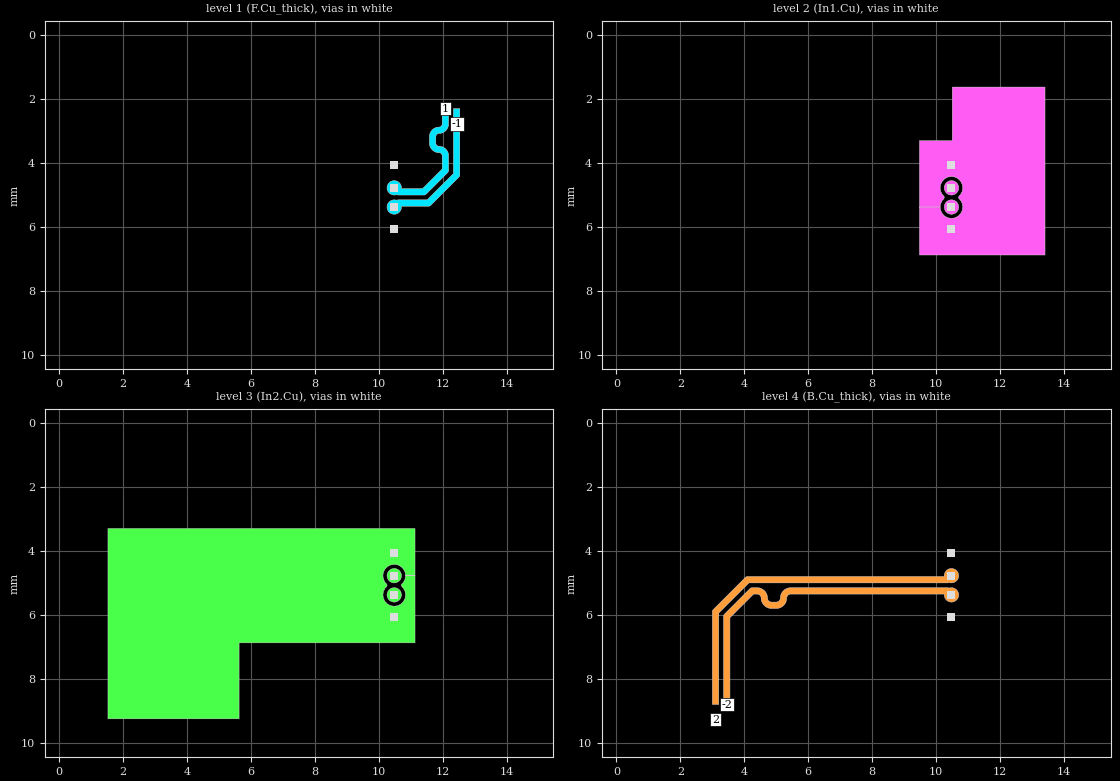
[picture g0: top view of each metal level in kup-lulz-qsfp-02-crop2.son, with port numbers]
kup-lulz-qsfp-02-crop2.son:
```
FTYP SONPROJ 19 ! Sonnet Project File
VER 18.56
HEADER
LIC antikernel2.1.52448
DAT 02/23/2024 21:26:37
BUILT_BY_CREATED dxf 18.56 02/22/2024 23:40:04
BUILT_BY_SAVED sonnet 18.56
MDATE 02/23/2024 21:26:37
HDATE 02/23/2024 21:26:37
ANN Created by dxfgeo, Sonnet Software Inc.
END HEADER
DIM
ANG DEG
CAP PF
CON /OH
FREQ GHZ
IND NH
LNG MM
RES OH
END DIM
CONTROL
VARSWP
OPTIONS  -dj
SPEED 1
CACHE_ABS 2
Q_ACC N
END CONTROL
GEO
TMET "Free Space" 0 FREESPACE 376.7303136 0 0 0
BMET "Free Space" 0 FREESPACE 376.7303136 0 0 0
MET "Copper_1oz+plated_thick_up" 1 TMM 58000000 0.5 0.0432 2
MET "Copper_1oz+plated_thin" 4 NOR 58000000 0.5 0.0432 
MET "Copper_0.5oz_thin" 2 NOR 58000000 0.5 0.0175 
MET "Copper_1oz+plated_thick_down" 3 TMM 58000000 0.5 0.0432 2 CDVY TDWN
BOX 6 15 10 1200 800 20 0
      10 1 1 0 0 0 0 "Air"
      0.05 3.5 1 0.02 0 0 0 "Soldermask"
      0.2021 3.61 1 0.0092 0 0 0 "Isola_FR408HR"
      1.1938 3.61 1 0.0092 0 0 0 "Isola_FR408HR"
      0.2021 3.61 1 0.0092 0 0 0 "Isola_FR408HR"
      0.05 3.5 1 0.02 0 0 0 "Soldermask"
      10 1 1 0 0 0 0 "Air"
TECHLAY METAL F.Cu_thick L1D0 -1 -65534 CAD F.Cu drawing 
1 0 0 N 2111 1 1 100 100 0 0 0 Y
END
END
TECHLAY VIA Via1 L5D0 -7 -65534 CAD Via1 drawing 
VIA POLYGON
1 0 -1 N 2163 1 1 100 100 0 0 0 Y
TOLEVEL 4 RING NOCOVERS
END
END
TECHLAY METAL F.Cu_thin <UNSPECIFIED> -2 -65534 CAD F.Cu_thin drawing 
1 0 1 N 2123 1 1 100 100 0 0 0 Y
END
END
TECHLAY METAL In1.Cu L2D0 -3 -65534 CAD In1.Cu drawing 
2 0 2 N 2126 1 1 100 100 0 0 0 Y
END
END
TECHLAY METAL In2.Cu L3D0 -4 -65534 CAD In2.Cu drawing 
3 0 2 N 2129 1 1 100 100 0 0 0 Y
END
END
TECHLAY METAL B.Cu_thick L4D0 -5 -65534 CAD B.Cu drawing 
4 0 3 N 2132 1 1 100 100 0 0 0 Y
END
END
TECHLAY METAL B.Cu_thin <UNSPECIFIED> -6 -65534 CAD B.Cu_thin drawing 
4 0 1 N 2134 1 1 100 100 0 0 0 Y
END
END
LORGN 0 10 U 
POR1 CUP Auto
GNDREF AUTO
TERMW FEED
POLY 2143 1
103
1 100 0 0 0 12.075 2.3 
CUPGRP "Auto" LOCAL
ID 2162
END
POR1 CUP Auto
GNDREF AUTO
TERMW FEED
POLY 2144 1
32
-1 100 0 0 0 12.425 2.3 
CUPGRP "Auto" LOCAL
ID 2169
END
POR1 CUP Auto
GNDREF AUTO
TERMW FEED
POLY 2150 1
274
-2 100 0 0 0 3.45 8.8 
CUPGRP "Auto" LOCAL
ID 2173
END
POR1 CUP Auto
GNDREF AUTO
TERMW FEED
POLY 2151 1
79
2 100 0 0 0 3.1 8.8 
CUPGRP "Auto" LOCAL
ID 2171
END
NUM 14
1 256 0 N 2143 1 1 100 100 0 0 0 Y
TLAYNAM F.Cu_thick INH
11.418 4.9995
11.427 4.9975
11.437 4.9945
11.446 4.9915
11.454 4.9865
11.463 4.9805
11.47 4.9745
12.15 4.2955
12.156 4.2875
12.166 4.2715
12.166 4.2705
12.167 4.2675
12.169 4.2625
12.17 4.2615
12.173 4.2525
12.175 4.2425
12.175 3.7705
12.174 3.7615
12.169 3.7115
12.154 3.6645
12.151 3.6555
12.146 3.6475
12.14 3.6385
12.127 3.6135
12.121 3.6045
12.115 3.5975
12.108 3.5905
12.102 3.5825
12.101 3.5815
12.097 3.5745
12.09 3.5675
12.084 3.5605
12.083 3.5605
12.076 3.5545
12.061 3.5425
12.061 3.5415
12.054 3.5345
12.046 3.5285
12.038 3.5235
11.995 3.4995
11.986 3.4965
11.976 3.4935
11.972 3.4925
11.967 3.4915
11.957 3.4885
11.948 3.4855
11.938 3.4825
11.929 3.4805
11.919 3.4795
11.89 3.4765
11.88 3.4755
11.853 3.4725
11.84 3.4685
11.82 3.4575
11.803 3.4435
11.791 3.4285
11.785 3.4185
11.777 3.3945
11.775 3.3705
11.775 3.1805
11.778 3.1535
11.782 3.1405
11.793 3.1205
11.807 3.1035
11.822 3.0915
11.832 3.0855
11.856 3.0775
11.88 3.0755
11.89 3.0745
11.919 3.0715
11.939 3.0695
11.986 3.0545
11.995 3.0515
12.003 3.0465
12.012 3.0405
12.037 3.0275
12.046 3.0215
12.053 3.0155
12.06 3.0085
12.068 3.0025
12.069 3.0015
12.076 2.9975
12.083 2.9905
12.09 2.9845
12.09 2.9835
12.096 2.9765
12.108 2.9615
12.109 2.9615
12.116 2.9545
12.122 2.9465
12.127 2.9385
12.151 2.8955
12.154 2.8865
12.157 2.8765
12.158 2.8725
12.159 2.8675
12.162 2.8575
12.165 2.8485
12.168 2.8385
12.17 2.8295
12.171 2.8195
12.174 2.7905
12.175 2.7805
12.175 2.3
11.975 2.3
11.975 2.7705
11.973 2.7945
11.965 2.8185
11.959 2.8285
11.947 2.8435
11.93 2.8575
11.91 2.8685
11.897 2.8725
11.87 2.8755
11.86 2.8765
11.831 2.8795
11.821 2.8805
11.812 2.8825
11.802 2.8855
11.793 2.8885
11.783 2.8915
11.778 2.8925
11.774 2.8935
11.764 2.8965
11.755 2.8995
11.712 2.9235
11.704 2.9285
11.696 2.9345
11.689 2.9415
11.689 2.9425
11.674 2.9545
11.667 2.9605
11.666 2.9605
11.66 2.9675
11.653 2.9745
11.649 2.9815
11.648 2.9825
11.642 2.9905
11.635 2.9975
11.629 3.0045
11.623 3.0135
11.61 3.0385
11.604 3.0475
11.599 3.0555
11.596 3.0645
11.581 3.1115
11.579 3.1315
11.576 3.1605
11.575 3.1705
11.575 3.3805
11.576 3.3905
11.579 3.4195
11.58 3.4295
11.582 3.4385
11.585 3.4485
11.588 3.4575
11.591 3.4675
11.592 3.4725
11.593 3.4765
11.596 3.4865
11.599 3.4955
11.623 3.5385
11.628 3.5465
11.634 3.5545
11.641 3.5615
11.642 3.5615
11.654 3.5765
11.66 3.5835
11.66 3.5845
11.667 3.5905
11.674 3.5975
11.681 3.6015
11.682 3.6025
11.69 3.6085
11.697 3.6155
11.704 3.6215
11.713 3.6275
11.738 3.6405
11.747 3.6465
11.755 3.6515
11.764 3.6545
11.811 3.6695
11.831 3.6715
11.86 3.6745
11.87 3.6755
11.894 3.6775
11.918 3.6855
11.928 3.6915
11.943 3.7035
11.957 3.7205
11.968 3.7405
11.972 3.7535
11.975 3.7805
11.975 4.1865
11.362 4.8005
10.699 4.8005
10.7 4.7865
10.7 4.7645
10.698 4.7425
10.693 4.7205
10.687 4.6995
10.678 4.6795
10.668 4.6595
10.656 4.6415
10.642 4.6245
10.626 4.6085
10.609 4.5945
10.591 4.5825
10.571 4.5725
10.551 4.5635
10.53 4.5575
10.508 4.5525
10.486 4.5505
10.464 4.5505
10.442 4.5525
10.42 4.5575
10.399 4.5635
10.379 4.5725
10.359 4.5825
10.341 4.5945
10.324 4.6085
10.308 4.6245
10.294 4.6415
10.282 4.6595
10.272 4.6795
10.263 4.6995
10.257 4.7205
10.252 4.7425
10.25 4.7645
10.25 4.7865
10.252 4.8085
10.257 4.8305
10.263 4.8515
10.272 4.8715
10.282 4.8915
10.294 4.9095
10.308 4.9265
10.324 4.9425
10.341 4.9565
10.359 4.9685
10.379 4.9785
10.399 4.9875
10.42 4.9935
10.442 4.9985
10.464 5.0005
10.486 5.0005
10.508 4.9985
10.53 4.9935
10.551 4.9875
10.557 4.9915
10.566 4.9945
10.576 4.9975
10.585 4.9995
10.595 5.0005
11.408 5.0005
11.418 4.9995
END
1 79 0 N 2144 1 1 100 100 0 0 0 Y
TLAYNAM F.Cu_thick INH
10.508 5.5985
10.53 5.5935
10.551 5.5875
10.571 5.5785
10.591 5.5685
10.609 5.5565
10.626 5.5425
10.642 5.5265
10.656 5.5095
10.668 5.4915
10.678 5.4715
10.687 5.4515
10.693 5.4305
10.698 5.4085
10.7 5.3865
10.7 5.3645
10.699 5.3505
11.552 5.3505
11.562 5.3495
11.572 5.3475
11.59 5.3415
11.598 5.3365
11.607 5.3305
11.615 5.3245
12.499 4.4395
12.505 4.4325
12.511 4.4245
12.516 4.4155
12.519 4.4065
12.522 4.3965
12.524 4.3875
12.525 4.3775
12.525 2.3
12.325 2.3
12.325 4.3315
11.505 5.1505
10.595 5.1505
10.585 5.1515
10.575 5.1535
10.557 5.1595
10.551 5.1635
10.55 5.1635
10.53 5.1575
10.508 5.1525
10.486 5.1505
10.464 5.1505
10.442 5.1525
10.42 5.1575
10.399 5.1635
10.379 5.1725
10.359 5.1825
10.341 5.1945
10.324 5.2085
10.308 5.2245
10.294 5.2415
10.282 5.2595
10.272 5.2795
10.263 5.2995
10.257 5.3205
10.252 5.3425
10.25 5.3645
10.25 5.3865
10.252 5.4085
10.257 5.4305
10.263 5.4515
10.272 5.4715
10.282 5.4915
10.294 5.5095
10.308 5.5265
10.324 5.5425
10.341 5.5565
10.359 5.5685
10.379 5.5785
10.399 5.5875
10.42 5.5935
10.442 5.5985
10.464 5.6005
10.486 5.6005
10.508 5.5985
END
VIA POLYGON
1 5 -1 N 1578 1 1 100 100 0 0 0 Y
TOLEVEL 4 RING NOCOVERS
TLAYNAM Via1 INH
10.35 5.5005
10.35 5.2505
10.6 5.2505
10.6 5.5005
10.35 5.5005
END
VIA POLYGON
1 5 -1 N 1580 1 1 100 100 0 0 0 Y
TOLEVEL 4 RING NOCOVERS
TLAYNAM Via1 INH
10.35 4.9005
10.35 4.6505
10.6 4.6505
10.6 4.9005
10.35 4.9005
END
VIA POLYGON
1 5 -1 N 2152 1 1 100 100 0 0 0 Y
TOLEVEL 4 RING NOCOVERS
TLAYNAM Via1 INH
10.35 4.2005
10.35 3.9505
10.6 3.9505
10.6 4.2005
10.35 4.2005
END
VIA POLYGON
1 5 -1 N 2153 1 1 100 100 0 0 0 Y
TOLEVEL 4 RING NOCOVERS
TLAYNAM Via1 INH
10.35 6.2005
10.35 5.9505
10.6 5.9505
10.6 6.2005
10.35 6.2005
END
2 65 2 N 623 1 1 100 100 0 0 0 Y
TLAYNAM In1.Cu INH
10.464 5.6005
10.442 5.5985
10.42 5.5935
10.399 5.5875
10.379 5.5785
10.359 5.5685
10.341 5.5565
10.324 5.5425
10.308 5.5265
10.294 5.5095
10.282 5.4915
10.272 5.4715
10.263 5.4515
10.257 5.4305
10.252 5.4085
10.25 5.3865
10.25 5.3645
10.252 5.3425
10.257 5.3205
10.263 5.2995
10.272 5.2795
10.282 5.2595
10.294 5.2415
10.308 5.2245
10.324 5.2085
10.341 5.1945
10.359 5.1825
10.379 5.1725
10.399 5.1635
10.42 5.1575
10.442 5.1525
10.464 5.1505
10.486 5.1505
10.508 5.1525
10.53 5.1575
10.551 5.1635
10.571 5.1725
10.591 5.1825
10.609 5.1945
10.626 5.2085
10.642 5.2245
10.656 5.2415
10.668 5.2595
10.678 5.2795
10.687 5.2995
10.693 5.3205
10.698 5.3425
10.7 5.3645
10.7 5.3865
10.698 5.4085
10.693 5.4305
10.687 5.4515
10.678 5.4715
10.668 5.4915
10.656 5.5095
10.642 5.5265
10.626 5.5425
10.609 5.5565
10.591 5.5685
10.571 5.5785
10.551 5.5875
10.53 5.5935
10.508 5.5985
10.486 5.6005
10.464 5.6005
END
2 65 2 N 625 1 1 100 100 0 0 0 Y
TLAYNAM In1.Cu INH
10.464 5.0005
10.442 4.9985
10.42 4.9935
10.399 4.9875
10.379 4.9785
10.359 4.9685
10.341 4.9565
10.324 4.9425
10.308 4.9265
10.294 4.9095
10.282 4.8915
10.272 4.8715
10.263 4.8515
10.257 4.8305
10.252 4.8085
10.25 4.7865
10.25 4.7645
10.252 4.7425
10.257 4.7205
10.263 4.6995
10.272 4.6795
10.282 4.6595
10.294 4.6415
10.308 4.6245
10.324 4.6085
10.341 4.5945
10.359 4.5825
10.379 4.5725
10.399 4.5635
10.42 4.5575
10.442 4.5525
10.464 4.5505
10.486 4.5505
10.508 4.5525
10.53 4.5575
10.551 4.5635
10.571 4.5725
10.591 4.5825
10.609 4.5945
10.626 4.6085
10.642 4.6245
10.656 4.6415
10.668 4.6595
10.678 4.6795
10.687 4.6995
10.693 4.7205
10.698 4.7425
10.7 4.7645
10.7 4.7865
10.698 4.8085
10.693 4.8305
10.687 4.8515
10.678 4.8715
10.668 4.8915
10.656 4.9095
10.642 4.9265
10.626 4.9425
10.609 4.9565
10.591 4.9685
10.571 4.9785
10.551 4.9875
10.53 4.9935
10.508 4.9985
10.486 5.0005
10.464 5.0005
END
2 46 2 N 2177 1 1 100 100 0 0 0 Y
TLAYNAM In1.Cu INH
13.4 1.625
10.5 1.625
10.5 3.3
9.475 3.3
9.475 5.3755
10.12 5.3755
10.138 5.2655
10.188 5.1665
10.236 5.1185
10.254 5.0755
10.236 5.0325
10.188 4.9845
10.138 4.8855
10.12 4.7755
10.138 4.6655
10.188 4.5665
10.266 4.4885
10.365 4.4385
10.475 4.4205
10.585 4.4385
10.684 4.4885
10.762 4.5665
10.813 4.6655
10.83 4.7755
10.813 4.8855
10.762 4.9845
10.714 5.0325
10.696 5.0755
10.714 5.1185
10.762 5.1665
10.813 5.2655
10.83 5.3755
10.813 5.4855
10.762 5.5845
10.684 5.6625
10.585 5.7135
10.475 5.7305
10.365 5.7135
10.266 5.6625
10.188 5.5845
10.138 5.4855
10.12 5.3755
9.475 5.3755
9.475 6.875
13.4 6.875
13.4 1.625
END
3 65 2 N 783 1 1 100 100 0 0 0 Y
TLAYNAM In2.Cu INH
10.464 5.6005
10.442 5.5985
10.42 5.5935
10.399 5.5875
10.379 5.5785
10.359 5.5685
10.341 5.5565
10.324 5.5425
10.308 5.5265
10.294 5.5095
10.282 5.4915
10.272 5.4715
10.263 5.4515
10.257 5.4305
10.252 5.4085
10.25 5.3865
10.25 5.3645
10.252 5.3425
10.257 5.3205
10.263 5.2995
10.272 5.2795
10.282 5.2595
10.294 5.2415
10.308 5.2245
10.324 5.2085
10.341 5.1945
10.359 5.1825
10.379 5.1725
10.399 5.1635
10.42 5.1575
10.442 5.1525
10.464 5.1505
10.486 5.1505
10.508 5.1525
10.53 5.1575
10.551 5.1635
10.571 5.1725
10.591 5.1825
10.609 5.1945
10.626 5.2085
10.642 5.2245
10.656 5.2415
10.668 5.2595
10.678 5.2795
10.687 5.2995
10.693 5.3205
10.698 5.3425
10.7 5.3645
10.7 5.3865
10.698 5.4085
10.693 5.4305
10.687 5.4515
10.678 5.4715
10.668 5.4915
10.656 5.5095
10.642 5.5265
10.626 5.5425
10.609 5.5565
10.591 5.5685
10.571 5.5785
10.551 5.5875
10.53 5.5935
10.508 5.5985
10.486 5.6005
10.464 5.6005
END
3 65 2 N 785 1 1 100 100 0 0 0 Y
TLAYNAM In2.Cu INH
10.464 5.0005
10.442 4.9985
10.42 4.9935
10.399 4.9875
10.379 4.9785
10.359 4.9685
10.341 4.9565
10.324 4.9425
10.308 4.9265
10.294 4.9095
10.282 4.8915
10.272 4.8715
10.263 4.8515
10.257 4.8305
10.252 4.8085
10.25 4.7865
10.25 4.7645
10.252 4.7425
10.257 4.7205
10.263 4.6995
10.272 4.6795
10.282 4.6595
10.294 4.6415
10.308 4.6245
10.324 4.6085
10.341 4.5945
10.359 4.5825
10.379 4.5725
10.399 4.5635
10.42 4.5575
10.442 4.5525
10.464 4.5505
10.486 4.5505
10.508 4.5525
10.53 4.5575
10.551 4.5635
10.571 4.5725
10.591 4.5825
10.609 4.5945
10.626 4.6085
10.642 4.6245
10.656 4.6415
10.668 4.6595
10.678 4.6795
10.687 4.6995
10.693 4.7205
10.698 4.7425
10.7 4.7645
10.7 4.7865
10.698 4.8085
10.693 4.8305
10.687 4.8515
10.678 4.8715
10.668 4.8915
10.656 4.9095
10.642 4.9265
10.626 4.9425
10.609 4.9565
10.591 4.9685
10.571 4.9785
10.551 4.9875
10.53 4.9935
10.508 4.9985
10.486 5.0005
10.464 5.0005
END
3 48 2 N 2181 1 1 100 100 0 0 0 Y
TLAYNAM In2.Cu INH
5.625 6.875
11.125 6.875
11.125 4.7755
10.83 4.7755
10.813 4.8855
10.762 4.9845
10.714 5.0325
10.696 5.0755
10.714 5.1185
10.762 5.1665
10.813 5.2655
10.83 5.3755
10.813 5.4855
10.762 5.5845
10.684 5.6625
10.585 5.7135
10.475 5.7305
10.365 5.7135
10.266 5.6625
10.188 5.5845
10.138 5.4855
10.12 5.3755
10.138 5.2655
10.188 5.1665
10.236 5.1185
10.254 5.0755
10.236 5.0325
10.188 4.9845
10.138 4.8855
10.12 4.7755
10.138 4.6655
10.188 4.5665
10.266 4.4885
10.365 4.4385
10.475 4.4205
10.585 4.4385
10.684 4.4885
10.762 4.5665
10.813 4.6655
10.83 4.7755
11.125 4.7755
11.125 3.3
9.825 3.3
9.825 3.3
1.525 3.3
1.525 9.25
5.625 9.25
5.625 6.875
END
4 277 3 N 2150 1 1 100 100 0 0 0 Y
TLAYNAM B.Cu_thick INH
3.55 6.0885
4.289 5.3505
4.396 5.3505
4.425 5.3535
4.446 5.3595
4.471 5.3735
4.488 5.3875
4.504 5.4065
4.516 5.4285
4.522 5.4505
4.525 5.4795
4.525 5.4805
4.526 5.4905
4.529 5.5235
4.529 5.5285
4.53 5.5335
4.53 5.5345
4.532 5.5435
4.535 5.5535
4.536 5.5565
4.548 5.5955
4.551 5.6045
4.556 5.6125
4.557 5.6145
4.573 5.6435
4.577 5.6515
4.583 5.6605
4.589 5.6675
4.608 5.6905
4.61 5.6945
4.624 5.7085
4.631 5.7145
4.632 5.7155
4.659 5.7375
4.665 5.7435
4.674 5.7485
4.682 5.7535
4.685 5.7545
4.704 5.7645
4.712 5.7695
4.721 5.7745
4.73 5.7775
4.74 5.7805
4.771 5.7905
4.772 5.7905
4.782 5.7935
4.791 5.7955
4.801 5.7965
4.802 5.7965
4.835 5.7995
4.845 5.8005
5.005 5.8005
5.015 5.7995
5.048 5.7965
5.053 5.7965
5.058 5.7955
5.059 5.7955
5.068 5.7935
5.078 5.7905
5.081 5.7895
5.12 5.7775
5.129 5.7745
5.137 5.7695
5.139 5.7685
5.168 5.7525
5.176 5.7485
5.185 5.7425
5.192 5.7365
5.215 5.7175
5.219 5.7155
5.233 5.7015
5.239 5.6945
5.24 5.6935
5.262 5.6665
5.268 5.6605
5.273 5.6515
5.278 5.6435
5.279 5.6405
5.289 5.6215
5.294 5.6135
5.299 5.6045
5.302 5.5955
5.305 5.5855
5.315 5.5545
5.315 5.5535
5.318 5.5435
5.32 5.5345
5.321 5.5245
5.321 5.5235
5.324 5.4905
5.325 5.4805
5.325 5.4795
5.328 5.4505
5.334 5.4295
5.348 5.4045
5.362 5.3875
5.381 5.3715
5.403 5.3595
5.425 5.3535
5.454 5.3505
10.251 5.3505
10.25 5.3645
10.25 5.3865
10.252 5.4085
10.257 5.4305
10.263 5.4515
10.272 5.4715
10.282 5.4915
10.294 5.5095
10.308 5.5265
10.324 5.5425
10.341 5.5565
10.359 5.5685
10.379 5.5785
10.399 5.5875
10.42 5.5935
10.442 5.5985
10.464 5.6005
10.486 5.6005
10.508 5.5985
10.53 5.5935
10.551 5.5875
10.571 5.5785
10.591 5.5685
10.609 5.5565
10.626 5.5425
10.642 5.5265
10.656 5.5095
10.668 5.4915
10.678 5.4715
10.687 5.4515
10.693 5.4305
10.698 5.4085
10.7 5.3865
10.7 5.3645
10.698 5.3425
10.693 5.3205
10.687 5.2995
10.678 5.2795
10.668 5.2595
10.656 5.2415
10.642 5.2245
10.626 5.2085
10.609 5.1945
10.591 5.1825
10.571 5.1725
10.551 5.1635
10.53 5.1575
10.508 5.1525
10.486 5.1505
10.464 5.1505
10.442 5.1525
10.42 5.1575
10.399 5.1635
10.393 5.1595
10.384 5.1565
10.374 5.1535
10.365 5.1515
10.355 5.1505
5.445 5.1505
5.435 5.1515
5.402 5.1545
5.401 5.1545
5.391 5.1555
5.382 5.1575
5.372 5.1605
5.371 5.1605
5.34 5.1705
5.33 5.1735
5.321 5.1765
5.312 5.1815
5.304 5.1865
5.285 5.1965
5.282 5.1975
5.274 5.2025
5.265 5.2075
5.259 5.2135
5.232 5.2355
5.231 5.2365
5.224 5.2425
5.21 5.2565
5.208 5.2605
5.189 5.2835
5.183 5.2905
5.177 5.2995
5.173 5.3075
5.157 5.3365
5.156 5.3385
5.151 5.3465
5.148 5.3555
5.136 5.3945
5.135 5.3975
5.132 5.4075
5.13 5.4165
5.13 5.4175
5.129 5.4225
5.129 5.4275
5.126 5.4605
5.125 5.4705
5.125 5.4715
5.122 5.5005
5.116 5.5225
5.104 5.5445
5.088 5.5635
5.071 5.5775
5.046 5.5915
5.025 5.5975
4.996 5.6005
4.854 5.6005
4.825 5.5975
4.803 5.5915
4.781 5.5795
4.762 5.5635
4.748 5.5465
4.734 5.5215
4.728 5.5005
4.725 5.4715
4.725 5.4705
4.724 5.4605
4.721 5.4275
4.721 5.4265
4.72 5.4165
4.718 5.4075
4.715 5.3975
4.715 5.3965
4.705 5.3655
4.702 5.3555
4.699 5.3465
4.694 5.3375
4.689 5.3295
4.679 5.3105
4.678 5.3075
4.673 5.2995
4.668 5.2905
4.662 5.2845
4.64 5.2575
4.639 5.2565
4.633 5.2495
4.619 5.2355
4.615 5.2335
4.592 5.2145
4.585 5.2085
4.576 5.2025
4.568 5.1985
4.539 5.1825
4.537 5.1815
4.529 5.1765
4.52 5.1735
4.481 5.1615
4.478 5.1605
4.468 5.1575
4.459 5.1555
4.458 5.1555
4.453 5.1545
4.448 5.1545
4.414 5.1515
4.405 5.1505
4.233 5.1505
4.223 5.1525
4.214 5.1555
4.213 5.1565
4.208 5.1585
4.205 5.1595
4.204 5.1595
4.188 5.1695
4.18 5.1755
3.376 5.9805
3.37 5.9875
3.364 5.9965
3.359 6.0045
3.356 6.0135
3.353 6.0235
3.351 6.0325
3.35 6.0425
3.35 8.8
3.55 8.8
3.55 6.0885
END
4 82 3 N 2151 1 1 100 100 0 0 0 Y
TLAYNAM B.Cu_thick INH
3.2 5.9445
4.145 5.0005
10.355 5.0005
10.365 4.9995
10.375 4.9975
10.393 4.9915
10.399 4.9875
10.4 4.9875
10.42 4.9935
10.442 4.9985
10.464 5.0005
10.486 5.0005
10.508 4.9985
10.53 4.9935
10.551 4.9875
10.571 4.9785
10.591 4.9685
10.609 4.9565
10.626 4.9425
10.642 4.9265
10.656 4.9095
10.668 4.8915
10.678 4.8715
10.687 4.8515
10.693 4.8305
10.698 4.8085
10.7 4.7865
10.7 4.7645
10.698 4.7425
10.693 4.7205
10.687 4.6995
10.678 4.6795
10.668 4.6595
10.656 4.6415
10.642 4.6245
10.626 4.6085
10.609 4.5945
10.591 4.5825
10.571 4.5725
10.551 4.5635
10.53 4.5575
10.508 4.5525
10.486 4.5505
10.464 4.5505
10.442 4.5525
10.42 4.5575
10.399 4.5635
10.379 4.5725
10.359 4.5825
10.341 4.5945
10.324 4.6085
10.308 4.6245
10.294 4.6415
10.282 4.6595
10.272 4.6795
10.263 4.6995
10.257 4.7205
10.252 4.7425
10.25 4.7645
10.25 4.7865
10.251 4.8005
4.098 4.8005
4.088 4.8015
4.078 4.8035
4.06 4.8095
4.052 4.8145
4.043 4.8205
4.035 4.8265
4.029 4.8335
3.04 5.8225
3.033 5.8285
3.026 5.8355
3.026 5.8365
3.02 5.8435
3.014 5.8515
3.009 5.8605
3.003 5.8785
3.001 5.8885
3 5.8985
3 8.8
3.2 8.8
3.2 5.9445
END
END GEO
OPT
MAX 100
END OPT
VARSWP
ENABLED Y
FREQ Y AY ABS_ENTRY 0.1 40.0 -1 300 
END
END VARSWP
3DOPTIONS
GLOBAL 2
ALL 7 1
END 3DOPTIONS
```
